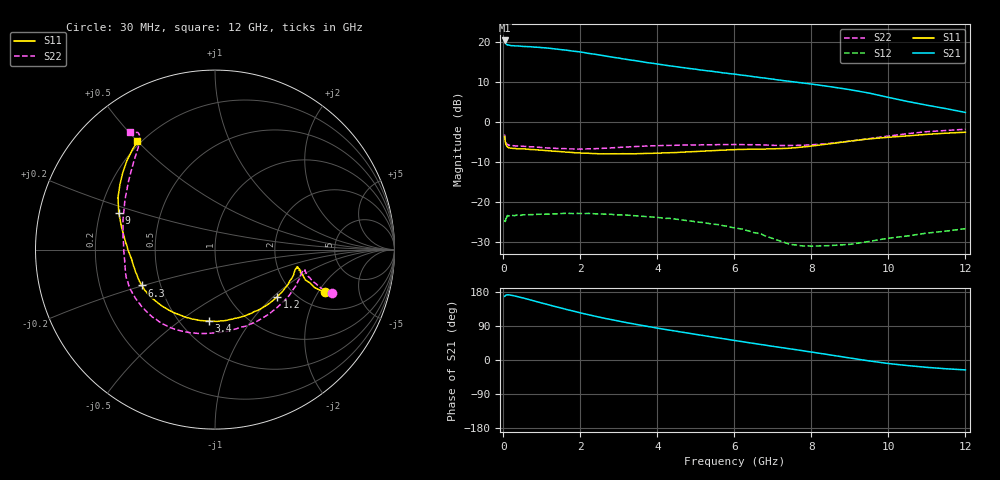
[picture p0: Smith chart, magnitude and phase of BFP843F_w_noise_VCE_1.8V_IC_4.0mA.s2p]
! Infineon Technologies  Discrete & RF Semiconductors
! BFP843F
! VCE =  1.8 V,  IC =  4.0 mA
! Common Emitter S-Parameters:  Aug 2013
# GHz  S  MA  R  50
!  f  S11  S21  S12  S22
! GHz  MAG  ANG  MAG  ANG  MAG  ANG  MAG  ANG
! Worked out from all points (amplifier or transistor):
!   103 points, 30 MHz to 12 GHz, reference 50 ohm
!   highest |S21| = 20.3 dB at 30 MHz (marker M1)
!   |S21| within 3 dB of that: start of sweep to 2.082 GHz
!   unconditionally stable (mu >= 1): 181 MHz to 576.7 MHz; 3.939 GHz to end of sweep
!   at 400 MHz: K = 1.01, MAG = 20.6 dB, |S12| = -23.2 dB
!   at 3.7 GHz: K = 0.98, MSG = 19.3 dB, |S12| = -23.7 dB
!   at 12 GHz: K = 1.51, MAG = 10.3 dB, |S12| = -26.7 dB
!   lowest NFmin = 0.87 dB at 450 MHz
!   S11 on the Smith chart (normalised r, x): 30 MHz: 2.74, -2.31; 1.2 GHz: 1.62, -1.06; 3.4 GHz: 0.68, -0.65; 6.3 GHz: 0.39, -0.20; 9 GHz: 0.28, +0.17; 12 GHz: 0.19, +0.50
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0.03  0.6575 -21.3  10.39 168.0  0.0564 35.6  0.6949 -20.6
0.04  0.5935 -20.9  9.941 168.3  0.0584 27.4  0.6292 -20.0
0.05  0.5627 -19.4  9.595 170.5  0.0569 23.2  0.5885 -18.5
0.07  0.5131 -16.7  9.355 171.3  0.0656 17.0  0.5514 -16.6
0.1  0.4906 -13.6  9.106 171.7  0.0676 12.5  0.5234 -14.3
0.15  0.4727 -12.5  9.075 171.9  0.067 7.9  0.5079 -12.8
0.7  0.4513 -23.2  8.68 158.6  0.0694 0.5  0.4881 -27.6
1.2  0.4347 -37.6  8.301 145.0  0.0704 -2.0  0.47 -46.0
1.7  0.4171 -52.1  7.784 131.8  0.0718 -5.4  0.4597 -64.3
2.1  0.4056 -63.3  7.335 122.0  0.0715 -8.3  0.4576 -78.5
2.7  0.3983 -78.6  6.576 108.6  0.0701 -12.9  0.4702 -96.4
3.4  0.3988 -95.1  5.841 94.9  0.0673 -17.5  0.4911 -112.8
4.1  0.4079 -110.6  5.195 82.4  0.0633 -22.0  0.5057 -124.9
5  0.4259 -129.6  4.543 67.6  0.0563 -26.7  0.5152 -139.3
6.1  0.4526 -150.1  3.885 50.0  0.0466 -31.5  0.5206 -156.2
6.3  0.4537 -153.9  3.783 46.9  0.0442 -31.6  0.5179 -159.4
7.4  0.4673 -173.4  3.224 30.1  0.03 -24.6  0.5066 -176.3
8.5  0.5342 166.8  2.745 13.2  0.0285 -1.2  0.5393 161.8
9  0.5741 159.1  2.524 5.3  0.0295 6.8  0.5736 151.0
10  0.6418 145.6  2.022 -9.3  0.0352 17.1  0.6653 133.0
10.5  0.6686 140.3  1.796 -14.7  0.0376 19.4  0.712 126.9
12  0.7419 125.7  1.311 -26.1  0.0463 26.7  0.8086 125.9
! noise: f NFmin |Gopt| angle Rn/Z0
0.45  0.87  0.19  11  0.07
0.9  0.87  0.2  21  0.08
1.5  0.95  0.2  27  0.08
1.9  1.01  0.2  42  0.08
2.4  1.04  0.19  56  0.09
3.5  1.12  0.2  83  0.14
5.5  1.25  0.19  144  0.22
10  2.02  0.4  -128  0.24
